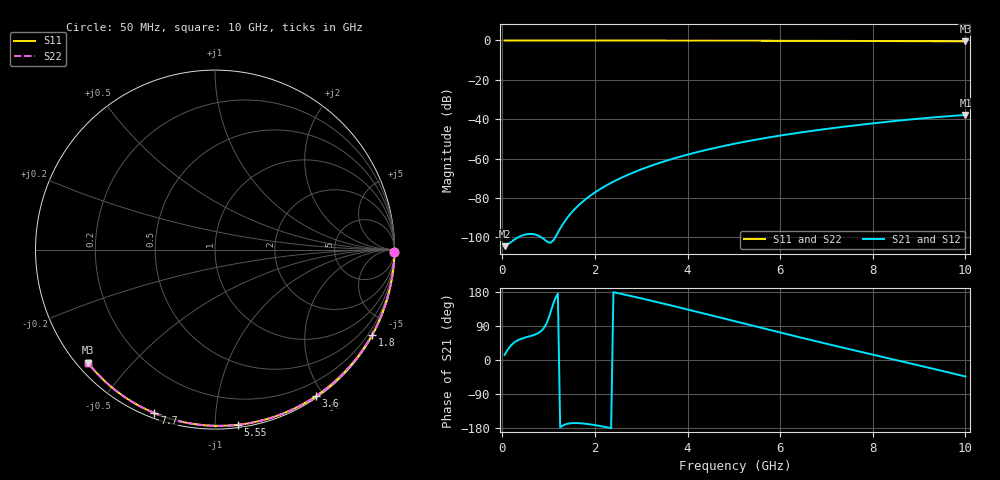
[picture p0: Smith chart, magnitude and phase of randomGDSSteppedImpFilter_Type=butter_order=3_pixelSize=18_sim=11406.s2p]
! freq	dB(S11)	phase(S11)	dB(S12)	phase(S12)
!  dB(S21)	phase(S21)	dB(S22)	phase(S22)
!S-par simulation data
#  GHz  S  DB  R 50
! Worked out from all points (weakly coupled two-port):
!   200 points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, 50 MHz to 10 GHz, reference 50 ohm
!   highest |S21| = -37.84 dB at 10 GHz (marker M1); lowest = -104.5 dB at 50 MHz (marker M2)
!   lowest |S11| = -0.5 dB at 10 GHz (marker M3), VSWR 37.13, Z = 1.54 - j19 ohm
!   |S11| at or under -10 dB: nowhere
!   |S22| runs from -0.5 to 0.0 dB; largest |S21 - S12| = 0
!   S11 on the Smith chart (normalised r, x): 50 MHz: open; 1.8 GHz: 0.03, -3.96; 3.6 GHz: 0.02, -1.90; 5.55 GHz: 0.02, -1.14; 7.7 GHz: 0.02, -0.70; 10 GHz: 0.03, -0.38
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0.05  -0.00 -0.8  -104.48 13.3  -104.48 13.3  -0.00 -0.8
0.45  -0.01 -7.2  -98.87 57.7  -98.87 57.7  -0.01 -7.2
0.9  -0.02 -14.3  -100.92 84.7  -100.92 84.7  -0.02 -14.3
1.75  -0.04 -27.6  -81.58 -167.6  -81.58 -167.6  -0.04 -27.6
1.8  -0.04 -28.4  -80.62 -168.3  -80.62 -168.3  -0.04 -28.4
1.85  -0.04 -29.1  -79.71 -169.1  -79.71 -169.1  -0.04 -29.1
2.05  -0.04 -32.2  -76.42 -172.9  -76.42 -172.9  -0.04 -32.2
2.25  -0.05 -35.3  -73.59 -177.4  -73.59 -177.4  -0.05 -35.3
2.55  -0.05 -39.8  -69.97 175.0  -69.97 175.0  -0.05 -39.8
2.95  -0.06 -45.8  -65.93 164.1  -65.93 164.1  -0.06 -45.8
3.4  -0.07 -52.5  -62.15 151.2  -62.15 151.2  -0.07 -52.5
3.6  -0.07 -55.4  -60.67 145.3  -60.67 145.3  -0.07 -55.4
3.9  -0.08 -59.8  -58.62 136.3  -58.62 136.3  -0.08 -59.8
4.3  -0.09 -65.5  -56.18 124.2  -56.18 124.2  -0.09 -65.5
5.05  -0.12 -75.9  -52.28 101.4  -52.28 101.4  -0.12 -75.9
5.55  -0.14 -82.7  -50.08 86.1  -50.08 86.1  -0.14 -82.7
6.1  -0.16 -90.0  -47.94 69.5  -47.94 69.5  -0.16 -90.0
6.7  -0.19 -97.7  -45.87 51.7  -45.87 51.7  -0.19 -97.7
7.7  -0.25 -110.4  -42.90 22.7  -42.90 22.7  -0.25 -110.4
8.35  -0.30 -118.4  -41.22 4.2  -41.22 4.2  -0.30 -118.4
9.2  -0.38 -128.7  -39.29 -20.1  -39.29 -20.1  -0.38 -128.7
10  -0.47 -138.3  -37.84 -43.5  -37.84 -43.5  -0.47 -138.3
